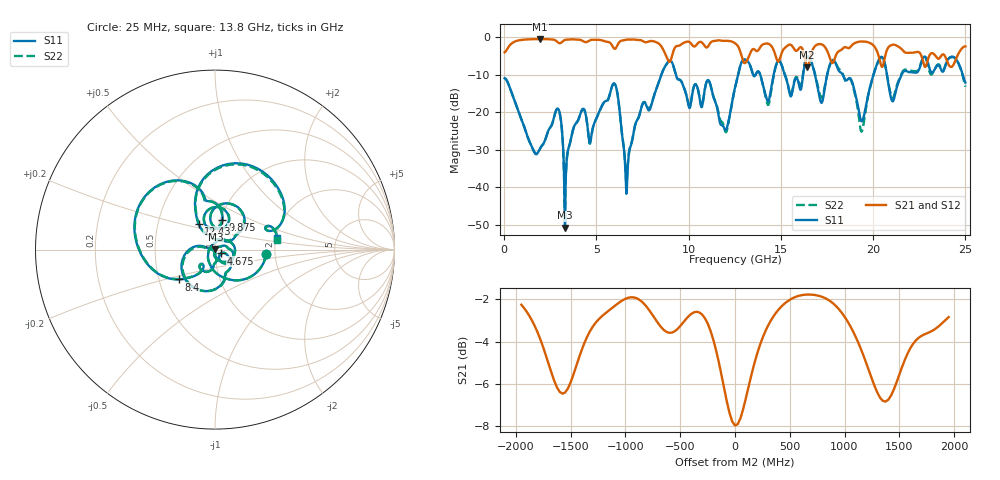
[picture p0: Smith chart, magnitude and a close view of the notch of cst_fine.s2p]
! R_s4_rect_n0: Finite board 24 × 16 mm, via L1 → L4 through the L2/L3 cavity, no return via
! stackup: 4-layer 1.6 mm FR-4
! ports: 1 L1, 2 L4
! CST Studio Suite 2025.5 Release from 2025-05-30, time domain (FIT, hexahedral, PBA), 625860 mesh cells, 191 s
! mesh: {'lpw': 30.0, 'lpb': 30.0, 'minstep': 0.0, 'ratio': 20}; ports: port 1 (face); port 2 (face)
! interpolated from CST's 1001 samples to the case grid
# Hz S RI R 50
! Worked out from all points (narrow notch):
!   1000 points, 25 MHz to 25 GHz, reference 50 ohm
!   highest |S21| = -0.44 dB at 1.95 GHz (marker M1); lowest = -8.0 dB at 16.43 GHz (marker M2)
!   notch at M2: 6.0 dB deep, 328 MHz wide at half that depth
!   lowest |S11| = -50.7 dB at 3.3 GHz (marker M3), VSWR 1.01, Z = 50.2 + j0.164 ohm
!   |S11| at or under -10 dB: start of sweep to 8.512 GHz; 9.309 GHz to 12.67 GHz (3.365 GHz wide, 30.6 % of centre); 18.36 GHz to 20.01 GHz (1.656 GHz wide, 8.63 % of centre) (the widest 3 of 9)
!   |S22| runs from -49.6 to -5.0 dB; largest |S21 - S12| = 0.00061
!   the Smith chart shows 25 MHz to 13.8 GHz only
!   S11 on the Smith chart (normalised r, x): 25 MHz: 1.79, -0.10; 4.675 GHz: 1.07, -0.05; 8.4 GHz: 0.63, -0.23; 9.875 GHz: 1.03, +0.35; 12.43 GHz: 0.80, +0.24; 13.8 GHz: 2.02, +0.29
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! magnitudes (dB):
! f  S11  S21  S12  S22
! 25 MHz  -10.9  -4.0  -4.0  -10.9
! 1.95 GHz  -29.6  -0.4  -0.4  -29.6
! 2.925 GHz  -19.0  -1.4  -1.4  -19.1
! 3.3 GHz  -50.7  -0.7  -0.7  -49.6
! 4.2 GHz  -19.5  -0.8  -0.8  -19.5
! 4.675 GHz  -27.7  -0.7  -0.7  -27.9
! 5.975 GHz  -12.3  -3.0  -3.0  -12.4
! 6.65 GHz  -40.3  -0.6  -0.6  -38.4
! 8.35 GHz  -12.4  -1.5  -1.5  -12.4
! 8.4 GHz  -11.6  -1.7  -1.7  -11.6
! 9.875 GHz  -15.4  -1.2  -1.2  -15.3
! 11.07 GHz  -11.4  -2.2  -2.2  -11.4
! 12 GHz  -24.7  -0.9  -0.9  -25.2
! 12.43 GHz  -15.4  -1.3  -1.3  -15.5
! 12.53 GHz  -13.1  -1.6  -1.6  -13.2
! 13.8 GHz  -9.1  -3.2  -3.3  -9.1
! 16.43 GHz  -5.2  -8.0  -8.0  -5.1
! 16.68 GHz  -6.9  -3.8  -3.8  -6.7
! 19.38 GHz  -22.4  -1.1  -1.1  -25.1
! 20.32 GHz  -5.8  -5.4  -5.4  -6.0
! 20.85 GHz  -13.2  -2.5  -2.5  -12.8
! 25 GHz  -12.0  -2.4  -2.4  -13.1
